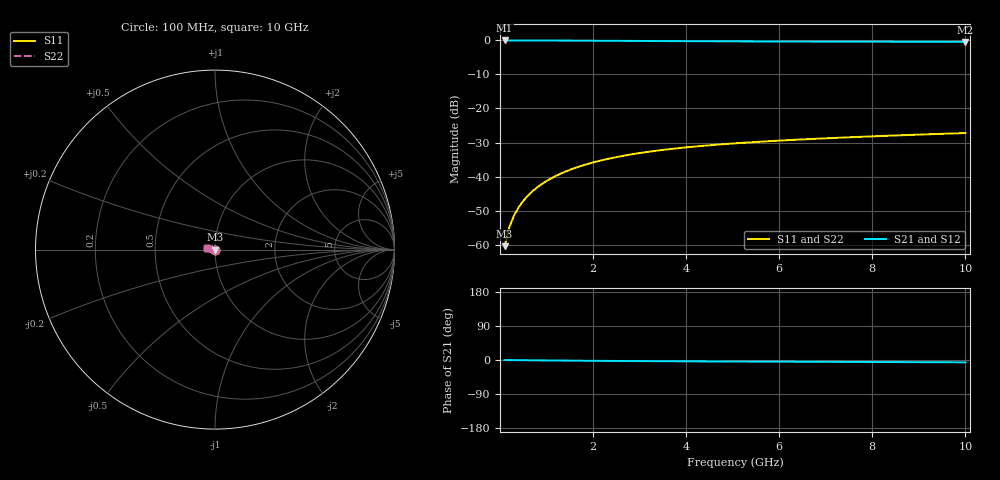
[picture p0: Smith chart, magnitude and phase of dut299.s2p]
! Touchstone file exported from HFSS 2024.1.0
!  File:  C:/UserFiles/LocalFiles/RDL_TSV_Batchsim/temp_TSV1_299_1779394960.aedt
!  Generated:  04:30:20 AM May 22, 2026
!  Design:  TSV1
!  Project:  temp_TSV1_299_1779394960
!  Setup:  Setup1
!  Solution:  Sweep
! Variables:
!  dtsv = 6.47um
!  hbump = 3um
!  htsv = 96.39um
!  lrdl = 252.1521522um
!  p = 40
!  p1 = 42.89um
!  t = 500um
!  trdl = 3um
!  wrdl = 24.89489489um
# GHz S MA R 50.000000
! Terminal data exported
! Port[1] = TSV22_T1
! Port[2] = TSV22_T2
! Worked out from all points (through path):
!   100 points, 100 MHz to 10 GHz, reference 50 ohm
!   highest |S21| = 0.00 dB at 100 MHz (marker M1); lowest = -0.4 dB at 10 GHz (marker M2)
!   lowest |S11| = -60.5 dB at 100 MHz (marker M3), VSWR 1.00, Z = 50 - j0.0877 ohm
!   |S11| at or under -10 dB: start of sweep to end of sweep
!   |S22| runs from -60.5 to -27.2 dB; largest |S21 - S12| = 5e-15
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0.1  0.0009477 -67.7  0.9996 -0.1  0.9996 -0.1  0.0009477 -67.7
! Gamma 0 0 0 0
! Port Impedance 50 0 50 0
0.2  0.001792 -80.9  0.9995 -0.2  0.9995 -0.2  0.001792 -80.9
0.3  0.002656 -86.8  0.9993 -0.4  0.9993 -0.4  0.002656 -86.8
0.4  0.003521 -90.7  0.9991 -0.5  0.9991 -0.5  0.003521 -90.7
0.5  0.004384 -93.7  0.9989 -0.6  0.9989 -0.6  0.004384 -93.7
0.6  0.005241 -96.3  0.9986 -0.7  0.9986 -0.7  0.005241 -96.3
0.7  0.006091 -98.7  0.9982 -0.8  0.9982 -0.8  0.006091 -98.7
0.8  0.006934 -100.9  0.9979 -0.9  0.9979 -0.9  0.006934 -100.9
0.9  0.007767 -102.9  0.9974 -1.0  0.9974 -1.0  0.007767 -102.9
1.1  0.009401 -106.8  0.9964 -1.3  0.9964 -1.3  0.009401 -106.8
1.4  0.01176 -112.3  0.9947 -1.6  0.9947 -1.6  0.01176 -112.3
1.6  0.01326 -115.8  0.9934 -1.8  0.9934 -1.8  0.01326 -115.8
1.8  0.01471 -119.1  0.992 -2.0  0.992 -2.0  0.01471 -119.1
2.1  0.01676 -123.9  0.9897 -2.2  0.9897 -2.2  0.01676 -123.9
2.5  0.01929 -129.9  0.9867 -2.6  0.9867 -2.6  0.01929 -129.9
2.9  0.02158 -135.5  0.9836 -2.8  0.9836 -2.8  0.02158 -135.5
3.4  0.02413 -142.0  0.9799 -3.2  0.9799 -3.2  0.02413 -142.0
4.2  0.02763 -151.4  0.9744 -3.6  0.9744 -3.6  0.02764 -151.4
5.1  0.03091 -160.5  0.9693 -4.1  0.9693 -4.1  0.03091 -160.5
6.7  0.03565 -174.2  0.9622 -4.8  0.9622 -4.8  0.03565 -174.2
8.4  0.0399 174.1  0.9571 -5.5  0.9571 -5.5  0.0399 174.1
10  0.0436 164.9  0.9536 -6.1  0.9536 -6.1  0.0436 164.9
